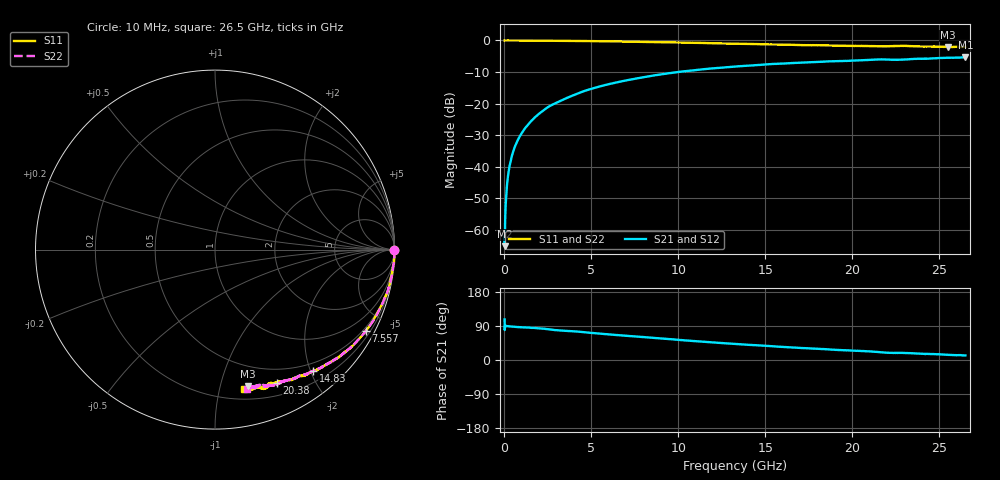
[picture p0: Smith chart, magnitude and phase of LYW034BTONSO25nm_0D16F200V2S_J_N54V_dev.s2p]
!Keysight Technologies,N5222B,MY61253708,A.15.00.15
!Date: Wednesday, June 19, 2024 09:09:36
!Correction: S11(C  2-Port  )
!S21(C  2-Port  )
!S12(C  2-Port  )
!S22(C  2-Port  )
!S2P File: Measurements: S11, S21, S12, S22:
# Hz S  RI  R 50
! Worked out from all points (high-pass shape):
!   2651 points, 10 MHz to 26.5 GHz, reference 50 ohm
!   highest |S21| = -5.33 dB at 26.5 GHz (marker M1); lowest = -65.2 dB at 20 MHz (marker M2)
!   |S21| within 3 dB of the highest: 13.13 GHz to end of sweep
!   lowest |S11| = -2.1 dB at 25.5 GHz (marker M3), VSWR 8.24, Z = 15.4 - j61 ohm
!   |S11| at or under -10 dB: nowhere
!   |S22| runs from -2.1 to 0.0 dB; largest |S21 - S12| = 0.0073
!   S11 on the Smith chart (normalised r, x): 10 MHz: open; 7.557 GHz: 0.39, -3.92; 14.83 GHz: 0.37, -2.04; 20.38 GHz: 0.33, -1.51; 26.5 GHz: 0.28, -1.19
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1e7  0.9987 -0.00185  -0.000233 0.000748  -2.95e-07 0.000944  0.9989 -0.000975
1.999623e7  0.9991 -0.00214  0.000104 0.000538  9.77e-05 0.000565  0.9992 -0.00212
8.996981e7  0.9999 -0.00605  1.44e-05 0.00313  3.09e-05 0.00314  0.9995 -0.00567
1.899321e8  1 -0.0132  7.74e-05 0.00657  9.22e-05 0.00664  0.9997 -0.0125
2.399132e8  0.9994 -0.0172  0.000119 0.00828  0.000145 0.00836  0.9991 -0.0164
3.098868e8  0.9994 -0.0218  0.000279 0.0107  0.000295 0.0108  0.999 -0.0208
4.198453e8  0.9991 -0.0291  0.000425 0.0145  0.000444 0.0146  0.9993 -0.0281
5.597925e8  0.9984 -0.039  0.000746 0.0193  0.000734 0.0194  0.9985 -0.0379
9.296528e8  0.9973 -0.0644  0.00196 0.0317  0.00199 0.032  0.9969 -0.0639
1.509434e9  0.9893 -0.1041  0.00469 0.0518  0.00472 0.0521  0.9921 -0.1017
2.379106e9  0.9802 -0.16  0.0118 0.0826  0.012 0.0831  0.9812 -0.1605
4.428332e9  0.9379 -0.2883  0.0418 0.1465  0.0421 0.1473  0.9394 -0.2859
5.827804e9  0.8981 -0.3655  0.0731 0.1835  0.0742 0.1845  0.8996 -0.3657
7.557151e9  0.8397 -0.4532  0.1171 0.2196  0.1179 0.2207  0.8411 -0.4528
8.846664e9  0.79 -0.5109  0.1541 0.2408  0.1556 0.2416  0.791 -0.5098
1.3255e10  0.609 -0.6467  0.2844 0.2604  0.2866 0.2603  0.6118 -0.6457
1.48344e10  0.5473 -0.6765  0.3252 0.2544  0.3272 0.2537  0.5493 -0.6729
1.767333e10  0.4341 -0.7204  0.3898 0.2276  0.3932 0.2263  0.444 -0.7182
2.038231e10  0.3441 -0.7444  0.4426 0.1984  0.445 0.1954  0.3594 -0.7456
2.209166e10  0.3001 -0.7481  0.4698 0.1624  0.4716 0.1599  0.2934 -0.7541
2.550038e10  0.1823 -0.7621  0.5167 0.1237  0.5182 0.1245  0.2023 -0.7655
2.65e10  0.1641 -0.7769  0.5298 0.113  0.5291 0.1098  0.1763 -0.7756
